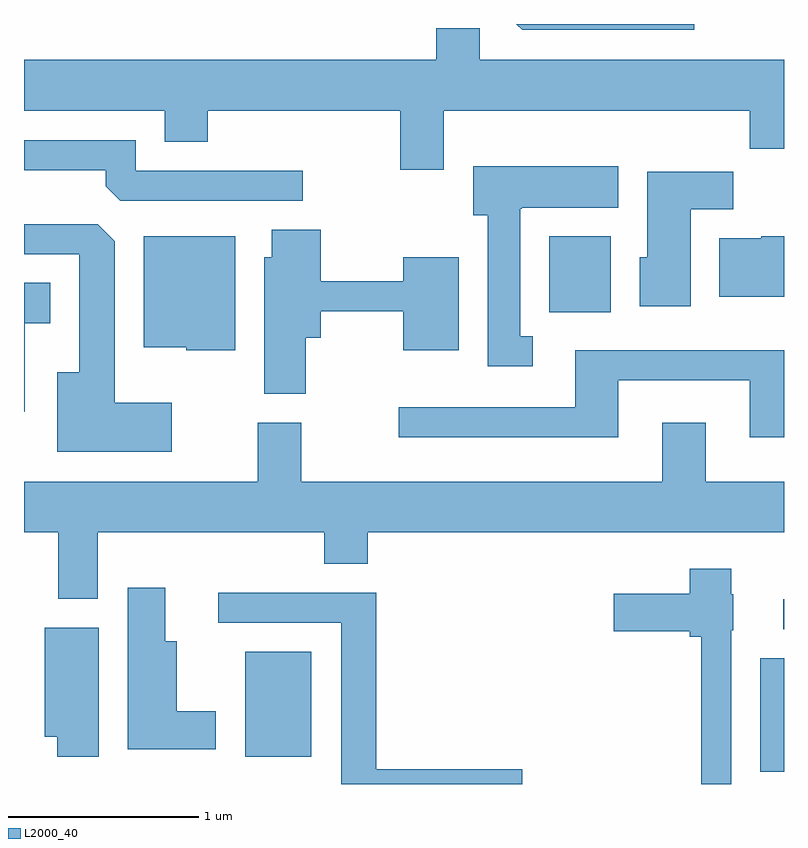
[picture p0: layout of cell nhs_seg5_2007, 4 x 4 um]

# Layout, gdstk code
import gdstk
lib = gdstk.Library(unit=1e-6, precision=1e-09)
def R(c, l, rs):  # rectangles x0, y0, x1, y1
    for r in rs: c.add(gdstk.rectangle(r[:2], r[2:], *l))
def P(c, l, *ps):  # polygons
    for p in ps: c.add(gdstk.Polygon(p, *l))
L2000_40 = (2000, 40)

nhs_seg5_2007 = lib.new_cell('nhs_seg5_2007')
R(nhs_seg5_2007, L2000_40, [(247.486,1522.136,247.611,1522.734), (244.776,1522.216,245.124,1522.769), (247.608,1522.886,247.611,1523.044), (246.376,1524.556,246.699,1524.954)])
P(nhs_seg5_2007, L2000_40, [(247.139,1526.072),(246.203,1526.072),(246.234,1526.041),(247.139,1526.041)],
  [(245.819,1525.616),(247.431,1525.616),(247.431,1525.416),(247.611,1525.416),(247.611,1525.884),(246.009,1525.884),(246.009,1526.049),(245.781,1526.049),(245.781,1525.884),(243.611,1525.884),(243.611,1525.616),(244.351,1525.616),(244.351,1525.451),(244.579,1525.451),(244.579,1525.616),(245.591,1525.616),(245.591,1525.306),(245.819,1525.306)],
  [(245.078,1525.299),(244.199,1525.299),(244.199,1525.459),(243.611,1525.459),(243.611,1525.301),(244.041,1525.301),(244.041,1525.217),(244.117,1525.141),(245.078,1525.141)],
  [(246.288,1524.429),(246.224,1524.429),(246.224,1525.1),(246.23,1525.1),(246.23,1525.106),(246.739,1525.106),(246.739,1525.324),(245.976,1525.324),(245.976,1525.066),(246.051,1525.066),(246.051,1524.271),(246.288,1524.271)],
  [(247.119,1525.096),(247.344,1525.096),(247.344,1525.294),(246.891,1525.294),(246.891,1524.844),(246.851,1524.844),(246.851,1524.586),(247.119,1524.586)],
  [(244.389,1524.079),(244.089,1524.079),(244.089,1524.929),(243.999,1525.019),(243.611,1525.019),(243.611,1524.861),(243.901,1524.861),(243.901,1524.239),(243.786,1524.239),(243.786,1523.821),(244.389,1523.821)],
  [(245.094,1524.421),(245.174,1524.421),(245.174,1524.561),(245.606,1524.561),(245.606,1524.356),(245.899,1524.356),(245.899,1524.844),(245.606,1524.844),(245.606,1524.719),(245.174,1524.719),(245.174,1524.989),(244.916,1524.989),(244.916,1524.844),(244.876,1524.844),(244.876,1524.126),(245.094,1524.126)],
  [(247.611,1524.954),(247.49,1524.954),(247.49,1524.944),(247.271,1524.944),(247.271,1524.636),(247.611,1524.636)],
  [(244.724,1524.954),(244.241,1524.954),(244.241,1524.371),(244.465,1524.371),(244.465,1524.356),(244.724,1524.356)],
  [(243.614,1524.496),(243.749,1524.496),(243.749,1524.709),(243.611,1524.709),(243.611,1524.031),(243.614,1524.031)],
  [(246.739,1524.196),(247.431,1524.196),(247.431,1523.896),(247.611,1523.896),(247.611,1524.354),(246.511,1524.354),(246.511,1524.054),(245.583,1524.054),(245.583,1523.896),(246.739,1523.896)],
  [(245.191,1523.231),(245.419,1523.231),(245.419,1523.396),(247.611,1523.396),(247.611,1523.664),(247.199,1523.664),(247.199,1523.974),(246.971,1523.974),(246.971,1523.664),(245.069,1523.664),(245.069,1523.974),(244.841,1523.974),(244.841,1523.664),(243.611,1523.664),(243.611,1523.396),(243.791,1523.396),(243.791,1523.046),(243.999,1523.046),(243.999,1523.396),(245.191,1523.396)],
  [(247.334,1522.88),(247.344,1522.88),(247.344,1523.07),(247.334,1523.07),(247.334,1523.204),(247.116,1523.204),(247.116,1523.074),(246.716,1523.074),(246.716,1522.876),(247.116,1522.876),(247.116,1522.846),(247.176,1522.846),(247.176,1522.072),(247.334,1522.072)],
  [(244.619,1522.454),(244.414,1522.454),(244.414,1522.824),(244.354,1522.824),(244.354,1523.104),(244.156,1523.104),(244.156,1522.256),(244.619,1522.256)],
  [(246.234,1522.149),(245.464,1522.149),(245.464,1523.079),(244.633,1523.079),(244.633,1522.921),(245.281,1522.921),(245.281,1522.072),(246.234,1522.072)],
  [(244.004,1522.894),(243.721,1522.894),(243.721,1522.321),(243.786,1522.321),(243.786,1522.216),(244.004,1522.216)])

lib.write_gds('nhs_seg5_2007.gds')
